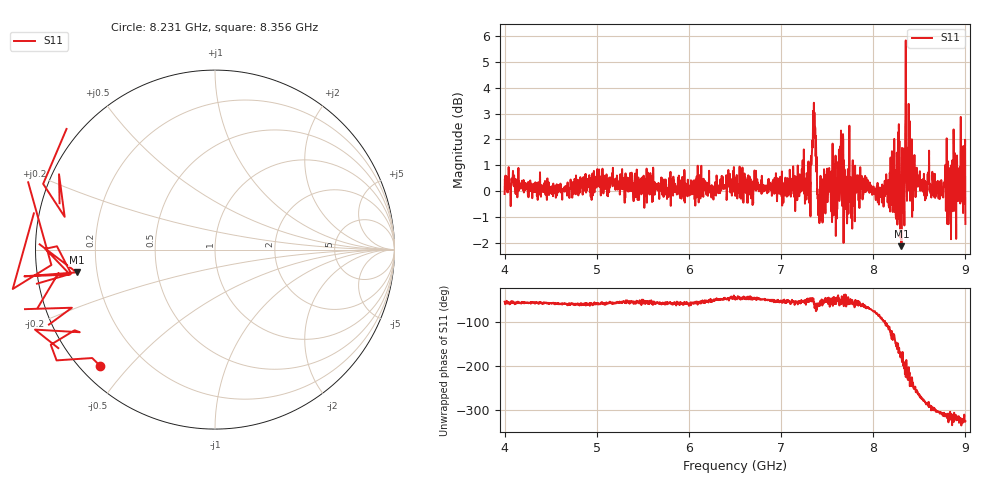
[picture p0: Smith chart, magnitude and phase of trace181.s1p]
! Created with skrf 1.8.0 (http://scikit-rf.org).
# Hz S RI R 50.0
!freq ReS11 ImS11
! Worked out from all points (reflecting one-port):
!   1601 points, 4 GHz to 9 GHz, reference 50 ohm
!   lowest |S11| = -2.1 dB at 8.306 GHz (marker M1), VSWR 8.15, Z = 6.17 - j4.02 ohm
!   phase of S11 starts at -55 deg and turns -271 deg over the sweep
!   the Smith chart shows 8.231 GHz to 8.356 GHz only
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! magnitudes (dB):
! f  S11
! 4 GHz  -0.1
! 4.625 GHz  -0.3
! 5.25 GHz  -0.1
! 5.875 GHz  -0.1
! 6.5 GHz  0.2
! 7.125 GHz  0.5
! 7.294 GHz  0.6
! 7.356 GHz  3.4
! 7.372 GHz  2.4
! 7.409 GHz  -0.4
! 7.428 GHz  0.6
! 7.509 GHz  -0.1
! 7.612 GHz  0.1
! 7.65 GHz  2.3
! 7.703 GHz  -0.1
! 7.75 GHz  0.2
! 8.169 GHz  -0.6
! 8.262 GHz  -1.3
! 8.306 GHz  -2.1
! 8.316 GHz  0.3
! 8.334 GHz  -0.3
! 8.375 GHz  0.7
! 8.381 GHz  0.6
! 8.441 GHz  1.3
! 8.559 GHz  0.4
! 8.825 GHz  0.6
! 8.972 GHz  0.5
! 9 GHz  -1.3
